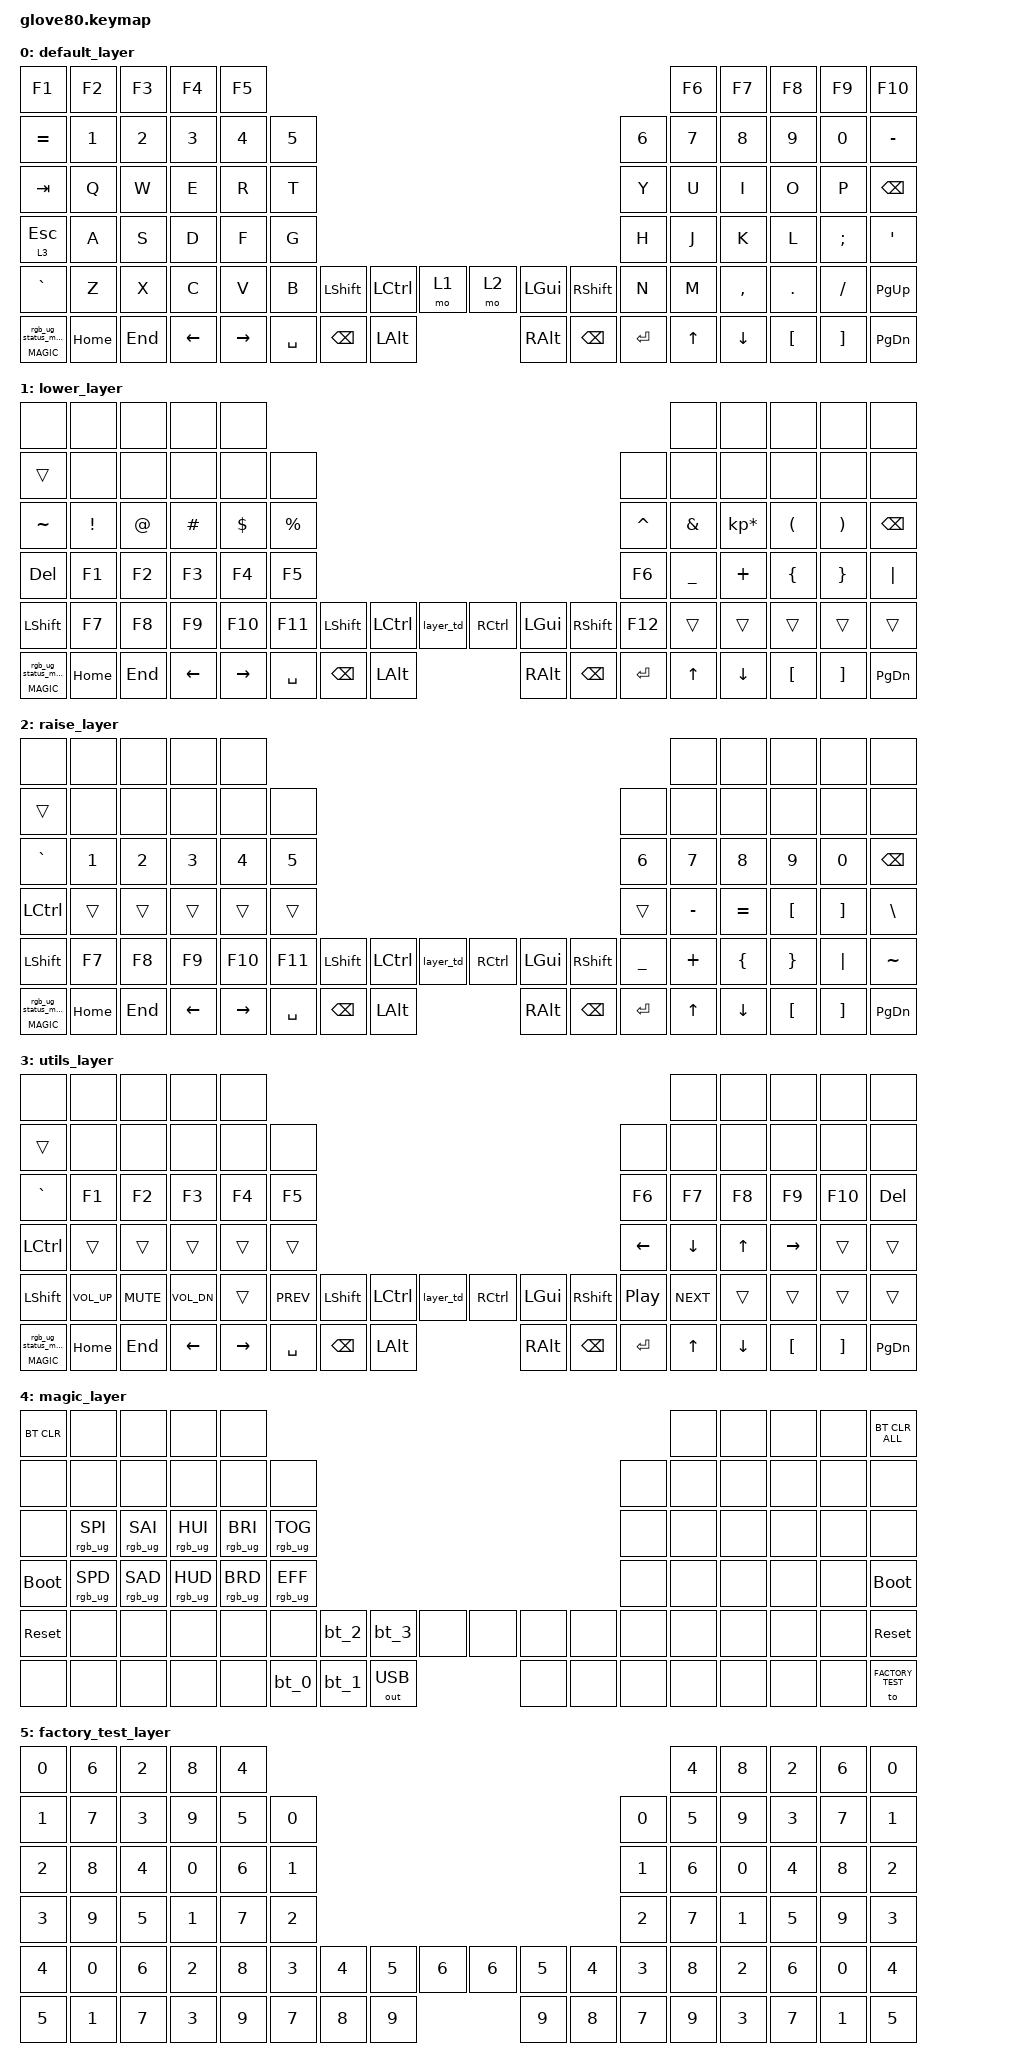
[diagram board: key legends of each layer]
/*
 * Copyright (c) 2020 The ZMK Contributors
 *
 * SPDX-License-Identifier: MIT
 */

#include <behaviors.dtsi>
#include <dt-bindings/zmk/keys.h>
#include <dt-bindings/zmk/bt.h>
#include <dt-bindings/zmk/ext_power.h>
#include <dt-bindings/zmk/outputs.h>
#include <dt-bindings/zmk/rgb.h>

#define HYPER LC(LS(LG(LALT)))

// layers
#define DEFAULT 0
#define LOWER 1
#define RAISE 2
#define UTILS 3
#define MAGIC 4
#define FACTORY_TEST 5

/ {
    behaviors {
        // For the "layer" key, it'd nice to be able to use it as either a shift or a toggle.
        // Configure it as a tap dance, so the first tap (or hold) is a &mo and the second tap is a &to
        layer_td: tap_dance_0 {
            compatible = "zmk,behavior-tap-dance";
            label = "LAYER_TAP_DANCE";
            #binding-cells = <0>;
            tapping-term-ms = <200>;
            bindings = <&mo LOWER>, <&to LOWER>;
        };

        magic: magic_hold_tap {
            compatible = "zmk,behavior-hold-tap";
            label = "MAGIC_HOLD_TAP";
            #binding-cells = <2>;
            flavor = "tap-preferred";
            tapping-term-ms = <200>;
            bindings = <&mo>, <&rgb_ug_status_macro>;
        };
    };

    macros {
        rgb_ug_status_macro: rgb_ug_status_macro_0 {
            label = "RGB_UG_STATUS";
            compatible = "zmk,behavior-macro";
            #binding-cells = <0>;
            bindings
                = <&rgb_ug RGB_STATUS>;
        };

        bt_0: bt_profile_macro_0 {
            label = "BT_0";
            compatible = "zmk,behavior-macro";
            #binding-cells = <0>;
            bindings
                = <&out OUT_BLE>,
                  <&bt BT_SEL 0>;
        };

        bt_1: bt_profile_macro_1 {
            label = "BT_1";
            compatible = "zmk,behavior-macro";
            #binding-cells = <0>;
            bindings
                = <&out OUT_BLE>,
                  <&bt BT_SEL 1>;
        };

        bt_2: bt_profile_macro_2 {
            label = "BT_2";
            compatible = "zmk,behavior-macro";
            #binding-cells = <0>;
            bindings
                = <&out OUT_BLE>,
                  <&bt BT_SEL 2>;
        };

        bt_3: bt_profile_macro_3 {
            label = "BT_3";
            compatible = "zmk,behavior-macro";
            #binding-cells = <0>;
            bindings
                = <&out OUT_BLE>,
                  <&bt BT_SEL 3>;
        };
    };

    keymap {
        compatible = "zmk,keymap";

        default_layer {
            // ---------------------------------------------------------------------------------------------------------------------------------
            // |  F1   |  F2 |  F3 |  F4  |  F5  |                                                               |  F6   |  F7   |  F8  |   F9  |  F10 |
            // |  =    |  1  |  2  |  3   |  4   |  5   |                                                 |  6   |   7   |   8   |  9   |   0   |   -  |
            // |  TAB  |  Q  |  W  |  E   |  R   |  T   |                                                 |  Y   |   U   |   I   |  O   |   P   |   \  |
            // |  ESC  |  A  |  S  |  D   |  F   |  G   |                                                 |  H   |   J   |   K   |  L   |   ;   |   '  |
            // |   `   |  Z  |  X  |  C   |  V   |  B   | LSHFT | LCTRL | LOWER | | RCTRL  | LGUI | RSHFT |  N   |   M   |   ,   |  .   |   /   | PGUP |
            // | MAGIC | HOME| END | LEFT | RIGHT|      | SPACE  | DEL   | LALT  | | RALT  | BSPC | ENTER |      |  UP   | DOWN  |  [   |   ]   | PGDN |

            bindings = <
            &kp F1         &kp F2   &kp F3      &kp F4      &kp F5                                                                                         &kp F6  &kp F7      &kp F8      &kp F9      &kp F10
            &kp EQUAL      &kp N1   &kp N2      &kp N3      &kp N4      &kp N5                                                                     &kp N6  &kp N7  &kp N8      &kp N9      &kp N0      &kp MINUS
            &kp TAB        &kp Q    &kp W       &kp E       &kp R       &kp T                                                                      &kp Y   &kp U   &kp I       &kp O       &kp P       &kp BSPC
            &lt 3 ESC      &kp A    &kp S       &kp D       &kp F       &kp G                                                                      &kp H   &kp J   &kp K       &kp L       &kp SEMI    &kp SQT
            &kp GRAVE      &kp Z    &kp X       &kp C       &kp V       &kp B   &kp LSHFT    &kp LCTRL    &mo 1      &mo 2     &kp LGUI   &kp RSHFT   &kp N   &kp M   &kp COMMA   &kp DOT     &kp FSLH    &kp PG_UP
            &magic MAGIC 0 &kp HOME &kp END     &kp LEFT    &kp RIGHT           &kp SPACE    &kp BSPC     &kp LALT   &kp RALT  &kp BSPC   &kp RET           &kp UP  &kp DOWN    &kp LBKT    &kp RBKT    &kp PG_DN
            >;
        };

        lower_layer {
          bindings = <
          &none               &none           &none           &none           &none                                                                              &none               &none           &none           &none           &none
          &trans            &none               &none           &none           &none           &none                                                                              &none               &none           &none           &none           &none &none

          &kp TILDE  &kp EXCL &kp AT &kp HASH &kp DLLR &kp PRCNT    &kp CARET &kp AMPS  &kp KP_MULTIPLY &kp LPAR &kp RPAR &kp BSPC
          &kp DEL    &kp F1   &kp F2 &kp F3   &kp F4   &kp F5       &kp F6    &kp UNDER &kp PLUS     &kp LBRC &kp RBRC &kp PIPE

          &kp LSHFT  &kp F7   &kp F8 &kp F9   &kp F10  &kp F11   &kp LSHFT   &kp LCTRL   &layer_td  &kp RCTRL  &kp LGUI &kp RSHFT   &kp F12   &trans    &trans       &trans   &trans   &trans
          &magic MAGIC 0 &kp HOME &kp END     &kp LEFT    &kp RIGHT           &kp SPACE    &kp BSPC     &kp LALT   &kp RALT  &kp BSPC   &kp RET           &kp UP  &kp DOWN    &kp LBKT    &kp RBKT    &kp PG_DN
          >;
        };

        raise_layer {
          bindings = <
          &none               &none           &none           &none           &none                                                                              &none               &none           &none           &none           &none
          &trans            &none               &none           &none           &none           &none                                                                              &none               &none           &none           &none           &none &none

          &kp GRAVE   &kp N1   &kp N2  &kp N3   &kp N4   &kp N5      &kp N6    &kp N7    &kp N8    &kp N9   &kp N0   &kp BSPC
          &kp LCTRL   &trans   &trans  &trans   &trans   &trans      &trans    &kp MINUS &kp EQUAL &kp LBKT &kp RBKT &kp BSLH

          &kp LSHFT  &kp F7   &kp F8 &kp F9   &kp F10  &kp F11   &kp LSHFT   &kp LCTRL   &layer_td  &kp RCTRL  &kp LGUI &kp RSHFT  &kp UNDER &kp PLUS  &kp LBRC  &kp RBRC &kp PIPE &kp TILDE
          &magic MAGIC 0 &kp HOME &kp END     &kp LEFT    &kp RIGHT           &kp SPACE    &kp BSPC     &kp LALT   &kp RALT  &kp BSPC   &kp RET           &kp UP  &kp DOWN    &kp LBKT    &kp RBKT    &kp PG_DN
          >;
        };

        utils_layer {
          bindings = <
          &none               &none           &none           &none           &none                                                                              &none               &none           &none           &none           &none
          &trans            &none               &none           &none           &none           &none                                                                              &none               &none           &none           &none           &none &none

   &kp GRAVE &kp F1       &kp F2     &kp F3       &kp F4 &kp F5      &kp F6    &kp F7     &kp F8    &kp F9    &kp F10 &kp DEL
   &kp LCTRL &trans       &trans     &trans       &trans &trans      &kp LEFT  &kp DOWN   &kp UP    &kp RIGHT &trans  &trans
   &kp LSHFT &kp C_VOL_UP &kp C_MUTE &kp C_VOL_DN &trans &kp C_PREV    &kp LSHFT   &kp LCTRL   &layer_td  &kp RCTRL  &kp LGUI &kp RSHFT                    &kp C_PP  &kp C_NEXT &trans    &trans    &trans  &trans

          &magic MAGIC 0 &kp HOME &kp END     &kp LEFT    &kp RIGHT           &kp SPACE    &kp BSPC     &kp LALT   &kp RALT  &kp BSPC   &kp RET           &kp UP  &kp DOWN    &kp LBKT    &kp RBKT    &kp PG_DN
          >;
        };

        /*
        lower_layer {
            bindings = <
            &kp C_BRI_DN      &kp C_BRI_UP        &kp C_PREV      &kp C_NEXT      &kp C_PP                                                                                                           &kp C_MUTE   &kp C_VOL_DN &kp C_VOL_UP  &none           &kp PAUSE_BREAK
            &trans            &none               &none           &none           &none           &kp HOME                                                                              &kp LPAR     &kp KP_NUM   &kp KP_EQUAL &kp KP_DIVIDE &kp KP_MULTIPLY &kp PSCRN
            &trans            &none               &none           &kp UP          &none           &kp END                                                                               &kp RPAR     &kp KP_N7    &kp KP_N8    &kp KP_N9     &kp KP_MINUS    &kp SLCK
            &trans            &none               &kp LEFT        &kp DOWN        &kp RIGHT       &kp PG_UP                                                                             &kp PRCNT    &kp KP_N4    &kp KP_N5    &kp KP_N6     &kp KP_PLUS     &none
            &trans            &kp K_CMENU         &none           &kp F11         &kp F12         &kp PG_DN       &trans      &trans      &to DEFAULT &trans      &trans      &trans    &kp COMMA    &kp KP_N1    &kp KP_N2    &kp KP_N3     &kp KP_ENTER    &trans
            &trans            &kp CAPS            &kp INS         &kp F11         &kp F12                         &trans      &trans      &trans      &trans      &trans      &trans                 &kp KP_N0    &kp KP_N0    &kp KP_DOT    &kp KP_ENTER    &trans
            >;
        };
        */

        magic_layer {
            bindings = <
            &bt BT_CLR        &none               &none           &none           &none                                                                                                           &none      &none      &none      &none      &bt BT_CLR_ALL
            &none             &none               &none           &none           &none           &none                                                                                &none      &none      &none      &none      &none      &none
            &none             &rgb_ug RGB_SPI     &rgb_ug RGB_SAI &rgb_ug RGB_HUI &rgb_ug RGB_BRI &rgb_ug RGB_TOG                                                                      &none      &none      &none      &none      &none      &none
            &bootloader       &rgb_ug RGB_SPD     &rgb_ug RGB_SAD &rgb_ug RGB_HUD &rgb_ug RGB_BRD &rgb_ug RGB_EFF                                                                      &none      &none      &none      &none      &none      &bootloader
            &sys_reset        &none               &none           &none           &none           &none           &bt_2     &bt_3     &none            &none     &none     &none       &none      &none      &none      &none      &none      &sys_reset
            &none             &none               &none           &none           &none                           &bt_0     &bt_1     &out OUT_USB     &none     &none     &none                  &none      &none      &none      &none      &to FACTORY_TEST
            >;
        };

        factory_test_layer {
            bindings = <
            &kp N0   &kp N6   &kp N2   &kp N8   &kp N4                                                                              &kp N4   &kp N8   &kp N2   &kp N6   &kp N0
            &kp N1   &kp N7   &kp N3   &kp N9   &kp N5   &kp N0                                                            &kp N0   &kp N5   &kp N9   &kp N3   &kp N7   &kp N1
            &kp N2   &kp N8   &kp N4   &kp N0   &kp N6   &kp N1                                                            &kp N1   &kp N6   &kp N0   &kp N4   &kp N8   &kp N2
            &kp N3   &kp N9   &kp N5   &kp N1   &kp N7   &kp N2                                                            &kp N2   &kp N7   &kp N1   &kp N5   &kp N9   &kp N3
            &kp N4   &kp N0   &kp N6   &kp N2   &kp N8   &kp N3   &kp N4   &kp N5   &kp N6      &kp N6   &kp N5   &kp N4   &kp N3   &kp N8   &kp N2   &kp N6   &kp N0   &kp N4
            &kp N5   &kp N1   &kp N7   &kp N3   &kp N9            &kp N7   &kp N8   &kp N9      &kp N9   &kp N8   &kp N7            &kp N9   &kp N3   &kp N7   &kp N1   &kp N5
            >;
        };
    };
};
